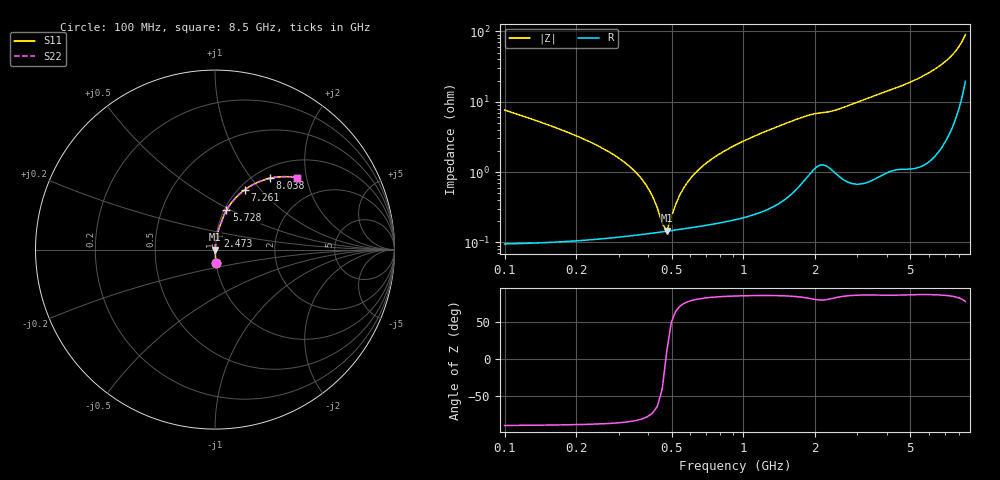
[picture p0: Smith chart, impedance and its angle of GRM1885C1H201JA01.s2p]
!Murata Part Number: GRM1885C1H201JA01
!These Parameters are Measured in Series Mode Connection
!Data Generated on Mar 30, 2021
!  o--ll--o
!Port1  Port2
!  o------o
!Operation Temp=25[degC], DC Bias Voltage=0[V]
!Freq. Start=100[MHz] Stop=9[GHz] 401[Steps]
# Hz S RI R 50
!Freq.(Hz) S11(Real) S11(Imag) S21(Real) S21(Imag) S12(Real) S12(Imag) S22(Real) S22(Imag)
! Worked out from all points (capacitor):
!   401 points, 100 MHz to 8.5 GHz, reference 50 ohm
!   read as one part in series: C = 200 pF near 142 MHz
!   lowest |Z| = 147 mohm at 478 MHz (marker M1)
!   series resonance near 473.8 MHz, so ESL is about 560 pH
!   S11 on the Smith chart (normalised r, x): 100 MHz: 1.00, -0.15; 2.473 GHz: 1.02, +0.15; 5.728 GHz: 1.03, +0.48; 7.261 GHz: 1.07, +0.83; 8.038 GHz: 1.17, +1.25; 8.5 GHz: 1.39, +1.77
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1e8  0.00667 -0.0754  0.9933 0.0754  0.9933 0.0754  0.00667 -0.0754
3.31e8  0.00137 -0.0122  0.9986 0.0122  0.9986 0.0122  0.00137 -0.0122
3.94e8  0.00135 -0.00617  0.9986 0.00617  0.9986 0.00617  0.00135 -0.00617
4.36e8  0.00138 -0.00276  0.9986 0.00276  0.9986 0.00276  0.00138 -0.00276
4.78e8  0.00144 0.000295  0.9986 -0.000295  0.9986 -0.000295  0.00144 0.000295
4.99e8  0.00147 0.00172  0.9985 -0.00172  0.9985 -0.00172  0.00147 0.00172
5.62e8  0.00159 0.00569  0.9984 -0.00569  0.9984 -0.00569  0.00159 0.00569
6.04e8  0.00168 0.00813  0.9983 -0.00813  0.9983 -0.00813  0.00168 0.00813
6.67e8  0.00183 0.0116  0.9982 -0.0116  0.9982 -0.0116  0.00183 0.0116
7.72e8  0.00213 0.0169  0.9979 -0.0169  0.9979 -0.0169  0.00213 0.0169
1.066e9  0.00328 0.0301  0.9967 -0.0301  0.9967 -0.0301  0.00328 0.0301
1.507e9  0.00653 0.0486  0.9935 -0.0486  0.9935 -0.0486  0.00653 0.0486
1.906e9  0.0135 0.063  0.9865 -0.063  0.9865 -0.063  0.0135 0.063
2.473e9  0.0147 0.075  0.9853 -0.075  0.9853 -0.075  0.0147 0.075
2.914e9  0.0154 0.0926  0.9846 -0.0926  0.9846 -0.0926  0.0154 0.0926
4.3e9  0.033 0.1475  0.967 -0.1475  0.967 -0.1475  0.033 0.1475
5.707e9  0.0632 0.2183  0.9368 -0.2183  0.9368 -0.2183  0.0632 0.2183
5.728e9  0.064 0.2196  0.936 -0.2196  0.936 -0.2196  0.064 0.2196
7.114e9  0.1501 0.3211  0.8499 -0.3211  0.8499 -0.3211  0.1501 0.3211
7.261e9  0.1666 0.3339  0.8334 -0.3339  0.8334 -0.3339  0.1666 0.3339
8.038e9  0.3069 0.3975  0.6931 -0.3975  0.6931 -0.3975  0.3069 0.3975
8.5e9  0.4585 0.4  0.5415 -0.4  0.5415 -0.4  0.4585 0.4
